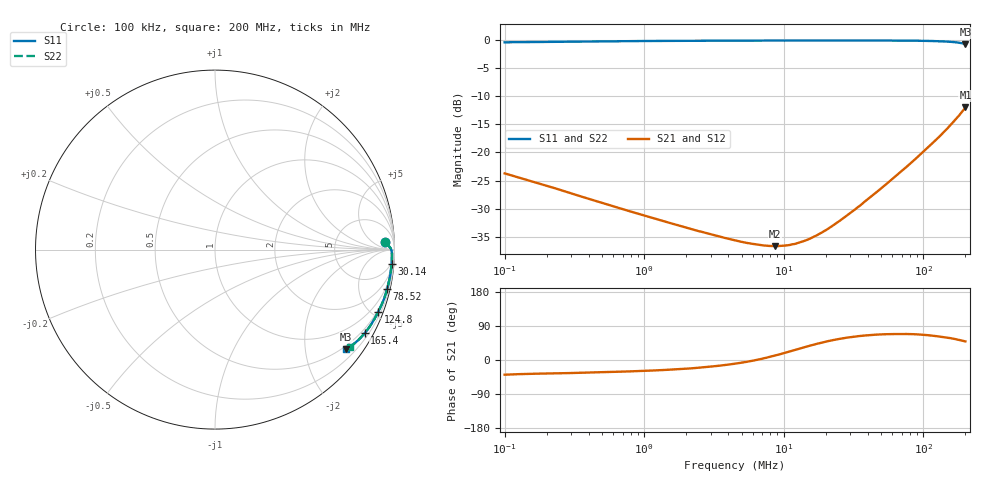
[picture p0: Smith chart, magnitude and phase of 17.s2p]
#  HZ  S  RI  R  50.00
! Rohde & Schwarz Vector Network Analyzer
! Rohde-Schwarz,ZNLE6-2Port,1323001256200024,1.71.1.10-23.02.1.238
! Created: UTC 4/11/2025, 5:44:44 AM
! freq[Hz]  re:S11  im:S11  re:S21  im:S21  re:S12  im:S12  re:S22  im:S22
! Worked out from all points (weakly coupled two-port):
!   1001 points, 100 kHz to 200 MHz, reference 50 ohm
!   highest |S21| = -11.99 dB at 200 MHz (marker M1); lowest = -36.6 dB at 8.664 MHz (marker M2)
!   lowest |S11| = -0.8 dB at 200 MHz (marker M3), VSWR 22.34, Z = 21.6 - j146 ohm
!   |S11| at or under -10 dB: nowhere
!   |S22| runs from -0.7 to -0.1 dB; largest |S21 - S12| = 0.0037
!   S11 on the Smith chart (normalised r, x): 100 kHz: 23, +19; 30.14 MHz: 4, -24; 78.52 MHz: 0.64, -8.85; 124.8 MHz: 0.41, -5.36; 165.4 MHz: 0.36, -3.80; 200 MHz: 0.43, -2.91
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100000  0.9498 0.0406  0.0508 -0.0409  0.0509 -0.041  0.9497 0.0405
180917.4  0.9578 0.0304  0.0427 -0.0309  0.0427 -0.0309  0.9577 0.0304
355854.1  0.9666 0.0218  0.0337 -0.0225  0.0338 -0.0226  0.9666 0.0218
1266322  0.9776 0.00897  0.0225 -0.0115  0.0226 -0.0115  0.9776 0.00907
2397897  0.9812 0.00264  0.0189 -0.00722  0.0189 -0.00721  0.9811 0.00276
4472136  0.9837 -0.00578  0.0164 -0.0028  0.0164 -0.00288  0.9838 -0.00495
6392392  0.9848 -0.0121  0.0152 5.2e-05  0.0152 2.85e-05  0.9848 -0.0117
8663724  0.9855 -0.0195  0.0144 0.00303  0.0145 0.00279  0.9855 -0.0185
1.01631e7  0.9857 -0.0239  0.0141 0.0048  0.0142 0.00463  0.9858 -0.023
1.201293e7  0.986 -0.0296  0.0138 0.00689  0.014 0.00664  0.9861 -0.0283
1.591428e7  0.986 -0.0408  0.0136 0.0111  0.0137 0.011  0.9861 -0.0396
2.076458e7  0.9855 -0.055  0.0136 0.016  0.0139 0.0158  0.9858 -0.0532
3.013516e7  0.9838 -0.0816  0.0144 0.0254  0.0145 0.0253  0.9841 -0.0792
4.022654e7  0.9807 -0.1103  0.0161 0.0352  0.0164 0.0349  0.9813 -0.1069
5.663162e7  0.9736 -0.1569  0.0203 0.0509  0.021 0.0505  0.9745 -0.1519
7.852416e7  0.9595 -0.2185  0.0284 0.0721  0.0297 0.0715  0.9608 -0.2119
9.938829e7  0.9409 -0.2772  0.04 0.0927  0.0417 0.0919  0.9431 -0.2694
1.248436e8  0.9085 -0.349  0.0602 0.117  0.062 0.116  0.9133 -0.3393
1.453405e8  0.875 -0.4091  0.0805 0.1369  0.0823 0.1356  0.8829 -0.396
1.653881e8  0.833 -0.4666  0.1059 0.1564  0.1083 0.1546  0.8454 -0.4514
1.784492e8  0.7997 -0.503  0.1253 0.1686  0.128 0.1665  0.8152 -0.4869
2e8  0.7281 -0.553  0.1647 0.1901  0.1674 0.1876  0.753 -0.5414
